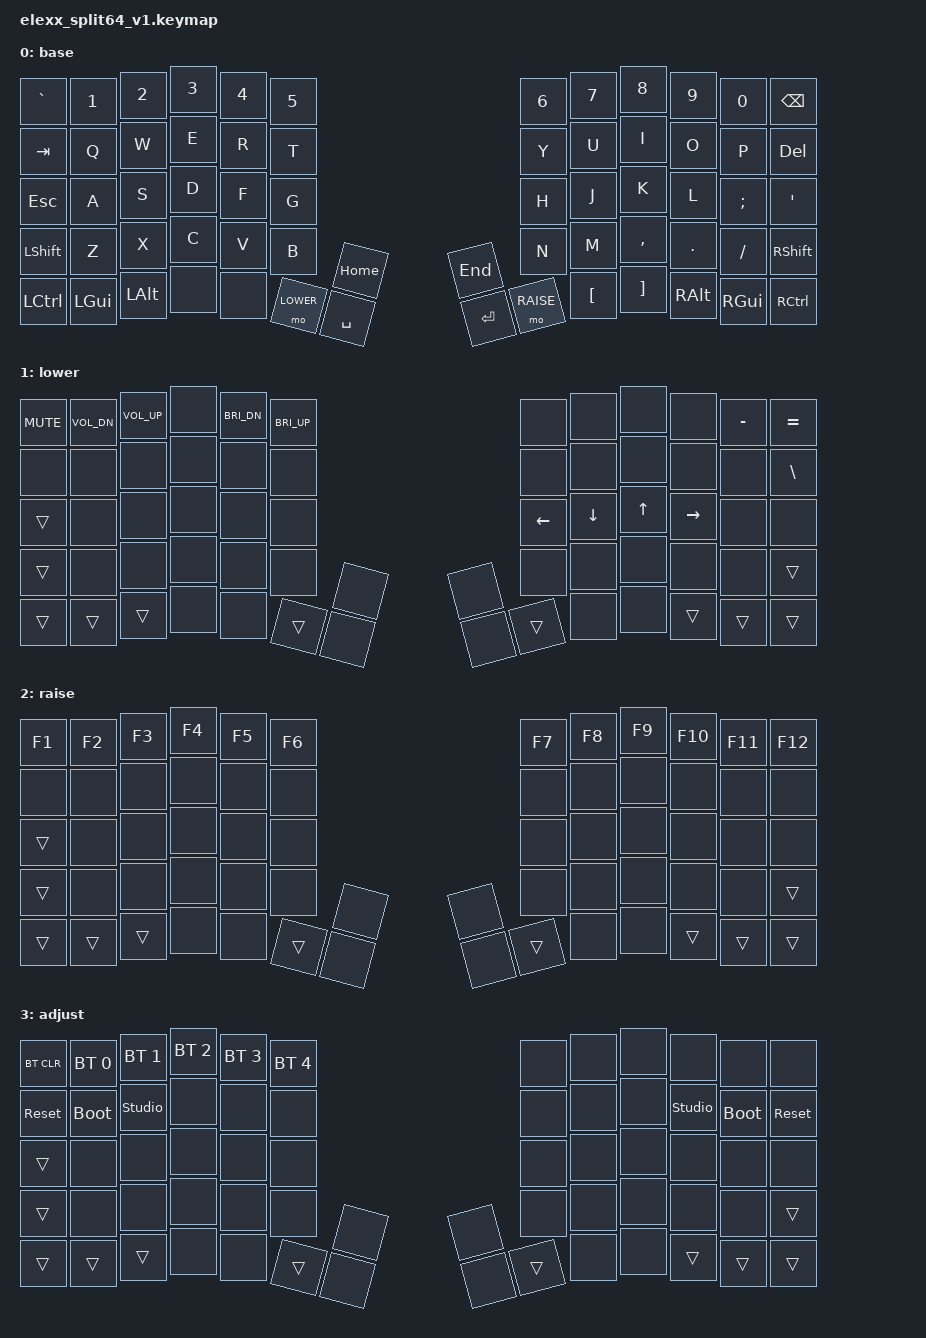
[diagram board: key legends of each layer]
#include <behaviors.dtsi>
#include <dt-bindings/zmk/keys.h>
#include <dt-bindings/zmk/bt.h>

#define BASE 0
#define LOWER 1
#define RAISE 2
#define ADJUST 3

/ {
    // Activate ADJUST layer by pressing raise and lower
    conditional_layers {
        compatible = "zmk,conditional-layers";
        adjust_layer {
            if-layers = <LOWER RAISE>;
            then-layer = <ADJUST>;
        };
    };

    keymap {
        compatible = "zmk,keymap";
        default_layer {
            display-name = "base";
            bindings = <
//-------------/--------------/--------------/--------------/--------------/--------------/-------------    /--------------/--------------/--------------/--------------/--------------/--------------/------------
&kp GRAVE      &kp N1         &kp N2         &kp N3         &kp N4         &kp N5                                          &kp N6         &kp N7         &kp N8         &kp N9         &kp N0         &kp BSPC
&kp TAB        &kp Q          &kp W          &kp E          &kp R          &kp T                                           &kp Y          &kp U          &kp I          &kp O          &kp P          &kp DEL
&kp ESC        &kp A          &kp S          &kp D          &kp F          &kp G                                           &kp H          &kp J          &kp K          &kp L          &kp SEMI       &kp SQT
&kp LSHFT      &kp Z          &kp X          &kp C          &kp V          &kp B          &kp HOME          &kp END        &kp N          &kp M          &kp COMMA      &kp DOT        &kp SLASH      &kp RSHIFT
&kp LCTRL      &kp LGUI       &kp LALT       &none          &none          &mo LOWER      &kp SPACE         &kp ENTER      &mo RAISE      &kp LBKT       &kp RBKT       &kp RALT       &kp RGUI       &kp RCTRL
            >;
        };

        lower_layer {
            display-name = "lower";
            bindings = <
//--------------/--------------/--------------/--------------/--------------/--------------/-------------    /--------------/--------------/--------------/--------------/--------------/--------------/------------
&kp C_MUTE     &kp C_VOL_DN   &kp C_VOL_UP   &none          &kp C_BRI_DN    &kp C_BRI_UP                                    &none          &none          &none          &none          &kp MINUS      &kp EQUAL
&none          &none          &none          &none          &none          &none                                            &none          &none          &none          &none          &none          &kp BSLH
&trans         &none          &none          &none          &none          &none                                            &kp LEFT       &kp DOWN       &kp UP         &kp RIGHT      &none          &none
&trans         &none          &none          &none          &none          &none           &none             &none          &none          &none          &none          &none          &none          &trans
&trans         &trans         &trans         &none          &none          &trans          &none             &none          &trans         &none          &none          &trans         &trans         &trans
            >;
        };

        raise_layer {
            display-name = "raise";
            bindings = <
//--------------/--------------/--------------/--------------/--------------/--------------/-------------    /--------------/--------------/--------------/--------------/--------------/--------------/------------
&kp F1         &kp F2         &kp F3         &kp F4         &kp F5         &kp F6                                           &kp F7         &kp F8         &kp F9         &kp F10        &kp F11        &kp F12
&none          &none          &none          &none          &none          &none                                            &none          &none          &none          &none          &none          &none
&trans         &none          &none          &none          &none          &none                                            &none          &none          &none          &none          &none          &none
&trans         &none          &none          &none          &none          &none           &none             &none          &none          &none          &none          &none          &none          &trans
&trans         &trans         &trans         &none          &none          &trans          &none             &none          &trans         &none          &none          &trans         &trans         &trans
            >;
        };

        adjust_layer {
            display-name = "adjust";
            bindings = <
//--------------/--------------/--------------/--------------/--------------/--------------/-------------    /--------------/--------------/--------------/--------------/--------------/--------------/------------
&bt BT_CLR     &bt BT_SEL 0   &bt BT_SEL 1   &bt BT_SEL 2   &bt BT_SEL 3   &bt BT_SEL 4                                     &none          &none          &none          &none          &none          &none
&sys_reset     &bootloader    &studio_unlock &none          &none          &none                                            &none          &none          &none          &studio_unlock &bootloader    &sys_reset
&trans         &none          &none          &none          &none          &none                                            &none          &none          &none          &none          &none          &none
&trans         &none          &none          &none          &none          &none           &none             &none          &none          &none          &none          &none          &none          &trans
&trans         &trans         &trans         &none          &none          &trans          &none             &none          &trans         &none          &none          &trans         &trans         &trans
            >;
        };
    };
};
